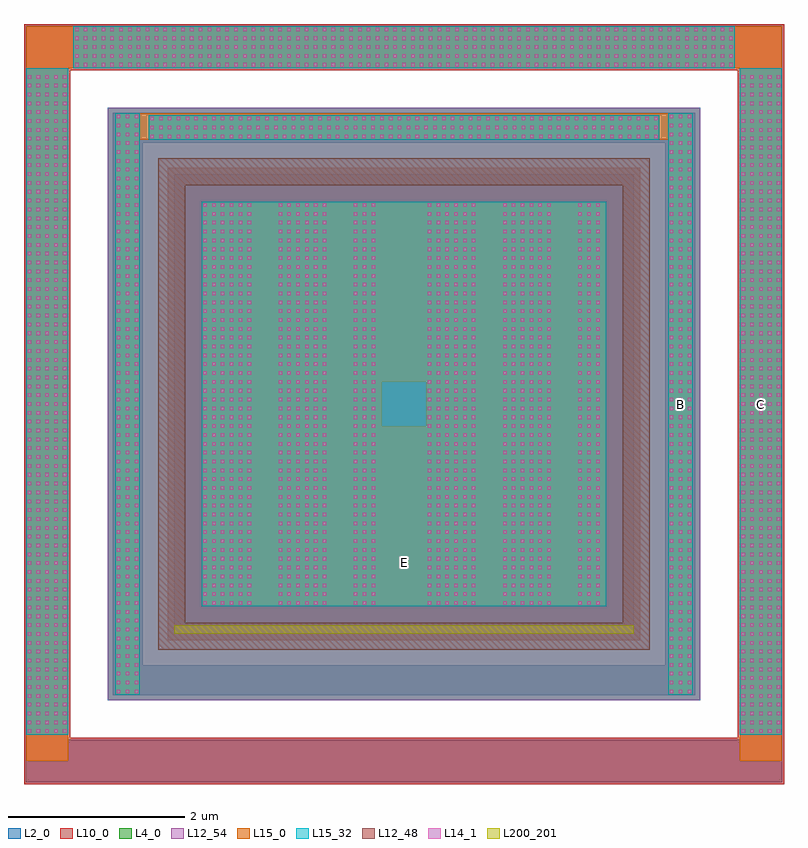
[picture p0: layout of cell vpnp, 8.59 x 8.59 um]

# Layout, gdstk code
import gdstk
lib = gdstk.Library(unit=1e-6, precision=1e-09)
def R(c, l, rs):  # rectangles x0, y0, x1, y1
    for r in rs: c.add(gdstk.rectangle(r[:2], r[2:], *l))
def A(c, l, x, y, w, h, nx, ny, dx, dy):  # array of equal rectangles
    R(c, l, [(x+i*dx, y+j*dy, x+i*dx+w, y+j*dy+h) for i in range(nx) for j in range(ny)])
L2_0 = (2, 0)
L4_0 = (4, 0)
L10_0 = (10, 0)
L12_48 = (12, 48)
L12_54 = (12, 54)
L14_1 = (14, 1)
L15_0 = (15, 0)
L15_32 = (15, 32)
L200_201 = (200, 201)

vpnp = lib.new_cell('vpnp')
R(vpnp, L2_0, [(-10.779,-2.809,-2.227,-2.329), (-10.779,-2.329,-10.299,5.263), (-2.707,-2.329,-2.227,5.263), (-9.799,-1.829,-3.207,-1.489), (-9.799,-1.489,-9.459,4.423), (-3.547,-1.489,-3.207,4.423), (-9.103,-1.133,-3.903,4.067), (-9.799,4.423,-3.207,4.763), (-10.779,5.263,-2.227,5.743)])
R(vpnp, L4_0, [(-9.855,-1.885,-3.151,4.819)])
R(vpnp, L10_0, [(-10.8,-2.83,-2.206,-2.308), (-10.8,-2.308,-10.278,5.242), (-2.728,-2.308,-2.206,5.242), (-9.173,-1.203,-3.833,4.137), (-10.8,5.242,-2.206,5.764)])
R(vpnp, L12_48, [(-9.284,-1.314,-3.722,-1.008), (-9.284,-1.008,-8.978,3.942), (-4.028,-1.008,-3.722,3.942), (-9.284,3.942,-3.722,4.248)])
R(vpnp, L12_54, [(-9.855,-1.885,-3.151,4.819)])
A(vpnp, L14_1, -10.759, -2.253, 0.04, 0.04, 5, 75, 0.1, 0.1)
A(vpnp, L14_1, -2.687, -2.253, 0.04, 0.04, 5, 75, 0.1, 0.1)
A(vpnp, L14_1, -9.749, -1.803, 0.04, 0.04, 3, 66, 0.1, 0.1)
A(vpnp, L14_1, -3.497, -1.803, 0.04, 0.04, 3, 66, 0.1, 0.1)
A(vpnp, L14_1, -8.773, -0.803, 0.04, 0.04, 6, 46, 0.1, 0.1)
A(vpnp, L14_1, -7.921, -0.803, 0.04, 0.04, 6, 46, 0.1, 0.1)
A(vpnp, L14_1, -7.069, -0.803, 0.04, 0.04, 3, 46, 0.1, 0.1)
A(vpnp, L14_1, -6.235, -0.803, 0.04, 0.04, 6, 46, 0.1, 0.1)
A(vpnp, L14_1, -5.383, -0.803, 0.04, 0.04, 6, 46, 0.1, 0.1)
A(vpnp, L14_1, -4.531, -0.803, 0.04, 0.04, 3, 46, 0.1, 0.1)
A(vpnp, L14_1, -9.373, 4.473, 0.04, 0.04, 58, 3, 0.1, 0.1)
A(vpnp, L14_1, -10.223, 5.283, 0.04, 0.04, 75, 5, 0.1, 0.1)
R(vpnp, L15_0, [(-10.777,-2.569,-10.301,5.741), (-2.705,-2.569,-2.229,5.741), (-9.767,-1.821,-9.491,4.755), (-3.515,-1.821,-3.239,4.755), (-8.791,-0.821,-4.215,1.217), (-8.791,1.217,-6.753,1.717), (-6.253,1.217,-4.215,1.717), (-8.791,1.717,-4.215,3.755), (-9.491,4.455,-3.515,4.755), (-10.301,5.265,-2.705,5.741)])
R(vpnp, L15_32, [(-10.777,-2.271,-10.301,5.265), (-2.705,-2.271,-2.229,5.265), (-9.767,-1.821,-9.491,4.755), (-3.515,-1.821,-3.239,4.755), (-8.791,-0.821,-4.215,3.755), (-9.391,4.455,-3.615,4.731), (-10.241,5.265,-2.765,5.741)])
R(vpnp, L200_201, [(-9.103,-1.133,-3.903,-1.033)])
vpnp.add(gdstk.Label('E', (-6.503,-0.321), layer=15, texttype=20))
vpnp.add(gdstk.Label('B', (-3.377,1.467), layer=15, texttype=20))
vpnp.add(gdstk.Label('C', (-2.467,1.467), layer=15, texttype=20))

lib.write_gds('vpnp.gds')
